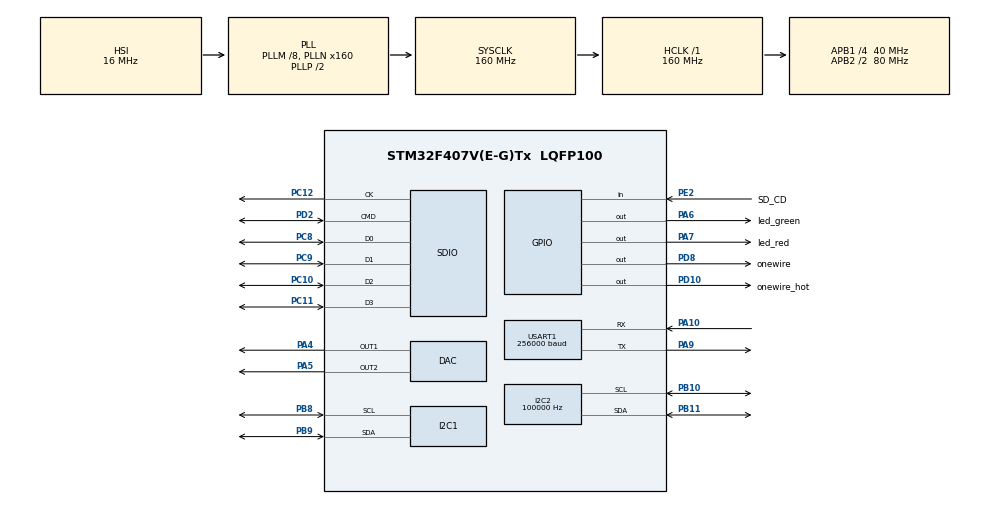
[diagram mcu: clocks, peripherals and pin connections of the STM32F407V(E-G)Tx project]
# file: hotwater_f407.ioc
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ADC1.Channel-0\#ChannelRegularConversion=ADC_CHANNEL_VBAT
ADC1.Channel-1\#ChannelRegularConversion=ADC_CHANNEL_TEMPSENSOR
ADC1.Channel-2\#ChannelRegularConversion=ADC_CHANNEL_VREFINT
ADC1.ContinuousConvMode=ENABLE
ADC1.DMAContinuousRequests=ENABLE
ADC1.EOCSelection=ADC_EOC_SEQ_CONV
ADC1.NbrOfConversion=3
ADC1.NbrOfConversionFlag=1
ADC1.Rank-0\#ChannelRegularConversion=1
ADC1.Rank-1\#ChannelRegularConversion=2
ADC1.Rank-2\#ChannelRegularConversion=3
ADC1.SamplingTime-0\#ChannelRegularConversion=ADC_SAMPLETIME_3CYCLES
ADC1.SamplingTime-1\#ChannelRegularConversion=ADC_SAMPLETIME_3CYCLES
ADC1.SamplingTime-2\#ChannelRegularConversion=ADC_SAMPLETIME_3CYCLES
ADC1.master=1
DAC.DAC_Trigger=DAC_TRIGGER_SOFTWARE
Dma.ADC1.1.Direction=DMA_PERIPH_TO_MEMORY
Dma.ADC1.1.FIFOMode=DMA_FIFOMODE_DISABLE
Dma.ADC1.1.Instance=DMA2_Stream0
Dma.ADC1.1.MemDataAlignment=DMA_MDATAALIGN_HALFWORD
Dma.ADC1.1.MemInc=DMA_MINC_ENABLE
Dma.ADC1.1.Mode=DMA_CIRCULAR
Dma.ADC1.1.PeriphDataAlignment=DMA_PDATAALIGN_HALFWORD
Dma.ADC1.1.PeriphInc=DMA_PINC_DISABLE
Dma.ADC1.1.Priority=DMA_PRIORITY_LOW
Dma.DAC1.0.Direction=DMA_MEMORY_TO_PERIPH
Dma.DAC1.0.FIFOMode=DMA_FIFOMODE_DISABLE
Dma.DAC1.0.Instance=DMA1_Stream5
Dma.DAC1.0.MemDataAlignment=DMA_MDATAALIGN_HALFWORD
Dma.DAC1.0.MemInc=DMA_MINC_ENABLE
Dma.DAC1.0.Mode=DMA_NORMAL
Dma.DAC1.0.PeriphDataAlignment=DMA_PDATAALIGN_HALFWORD
Dma.DAC1.0.PeriphInc=DMA_PINC_DISABLE
Dma.DAC1.0.Priority=DMA_PRIORITY_LOW
Dma.I2C1_RX.2.Direction=DMA_PERIPH_TO_MEMORY
Dma.I2C1_RX.2.FIFOMode=DMA_FIFOMODE_DISABLE
Dma.I2C1_RX.2.Instance=DMA1_Stream0
Dma.I2C1_RX.2.MemDataAlignment=DMA_MDATAALIGN_BYTE
Dma.I2C1_RX.2.MemInc=DMA_MINC_ENABLE
Dma.I2C1_RX.2.Mode=DMA_NORMAL
Dma.I2C1_RX.2.PeriphDataAlignment=DMA_PDATAALIGN_BYTE
Dma.I2C1_RX.2.PeriphInc=DMA_PINC_DISABLE
Dma.I2C1_RX.2.Priority=DMA_PRIORITY_LOW
Dma.I2C1_TX.3.Direction=DMA_MEMORY_TO_PERIPH
Dma.I2C1_TX.3.FIFOMode=DMA_FIFOMODE_DISABLE
Dma.I2C1_TX.3.Instance=DMA1_Stream6
Dma.I2C1_TX.3.MemDataAlignment=DMA_MDATAALIGN_BYTE
Dma.I2C1_TX.3.MemInc=DMA_MINC_ENABLE
Dma.I2C1_TX.3.Mode=DMA_NORMAL
Dma.I2C1_TX.3.PeriphDataAlignment=DMA_PDATAALIGN_BYTE
Dma.I2C1_TX.3.PeriphInc=DMA_PINC_DISABLE
Dma.I2C1_TX.3.Priority=DMA_PRIORITY_LOW
Dma.I2C2_RX.6.Direction=DMA_PERIPH_TO_MEMORY
Dma.I2C2_RX.6.FIFOMode=DMA_FIFOMODE_DISABLE
Dma.I2C2_RX.6.Instance=DMA1_Stream2
Dma.I2C2_RX.6.MemDataAlignment=DMA_MDATAALIGN_BYTE
Dma.I2C2_RX.6.MemInc=DMA_MINC_ENABLE
Dma.I2C2_RX.6.Mode=DMA_NORMAL
Dma.I2C2_RX.6.PeriphDataAlignment=DMA_PDATAALIGN_BYTE
Dma.I2C2_RX.6.PeriphInc=DMA_PINC_DISABLE
Dma.I2C2_RX.6.Priority=DMA_PRIORITY_LOW
Dma.I2C2_TX.7.Direction=DMA_MEMORY_TO_PERIPH
Dma.I2C2_TX.7.FIFOMode=DMA_FIFOMODE_DISABLE
Dma.I2C2_TX.7.Instance=DMA1_Stream7
Dma.I2C2_TX.7.MemDataAlignment=DMA_MDATAALIGN_BYTE
Dma.I2C2_TX.7.MemInc=DMA_MINC_ENABLE
Dma.I2C2_TX.7.Mode=DMA_NORMAL
Dma.I2C2_TX.7.PeriphDataAlignment=DMA_PDATAALIGN_BYTE
Dma.I2C2_TX.7.PeriphInc=DMA_PINC_DISABLE
Dma.I2C2_TX.7.Priority=DMA_PRIORITY_LOW
Dma.Request0=DAC1
Dma.Request1=ADC1
Dma.Request2=I2C1_RX
Dma.Request3=I2C1_TX
Dma.Request4=USART1_RX
Dma.Request5=USART1_TX
Dma.Request6=I2C2_RX
Dma.Request7=I2C2_TX
Dma.Request8=SDIO_RX
Dma.Request9=SDIO_TX
Dma.SDIO_RX.8.Direction=DMA_PERIPH_TO_MEMORY
Dma.SDIO_RX.8.FIFOMode=DMA_FIFOMODE_ENABLE
Dma.SDIO_RX.8.FIFOThreshold=DMA_FIFO_THRESHOLD_FULL
Dma.SDIO_RX.8.Instance=DMA2_Stream3
Dma.SDIO_RX.8.MemBurst=DMA_MBURST_INC4
Dma.SDIO_RX.8.MemDataAlignment=DMA_MDATAALIGN_WORD
Dma.SDIO_RX.8.MemInc=DMA_MINC_ENABLE
Dma.SDIO_RX.8.Mode=DMA_PFCTRL
Dma.SDIO_RX.8.PeriphBurst=DMA_PBURST_INC4
Dma.SDIO_RX.8.PeriphDataAlignment=DMA_PDATAALIGN_WORD
Dma.SDIO_RX.8.PeriphInc=DMA_PINC_DISABLE
Dma.SDIO_RX.8.Priority=DMA_PRIORITY_LOW
Dma.SDIO_TX.9.Direction=DMA_MEMORY_TO_PERIPH
Dma.SDIO_TX.9.FIFOMode=DMA_FIFOMODE_ENABLE
Dma.SDIO_TX.9.FIFOThreshold=DMA_FIFO_THRESHOLD_FULL
Dma.SDIO_TX.9.Instance=DMA2_Stream6
Dma.SDIO_TX.9.MemBurst=DMA_MBURST_INC4
Dma.SDIO_TX.9.MemDataAlignment=DMA_MDATAALIGN_WORD
Dma.SDIO_TX.9.MemInc=DMA_MINC_ENABLE
Dma.SDIO_TX.9.Mode=DMA_PFCTRL
Dma.SDIO_TX.9.PeriphBurst=DMA_PBURST_INC4
Dma.SDIO_TX.9.PeriphDataAlignment=DMA_PDATAALIGN_WORD
Dma.SDIO_TX.9.PeriphInc=DMA_PINC_DISABLE
Dma.SDIO_TX.9.Priority=DMA_PRIORITY_LOW
Dma.USART1_RX.4.Direction=DMA_PERIPH_TO_MEMORY
Dma.USART1_RX.4.FIFOMode=DMA_FIFOMODE_DISABLE
Dma.USART1_RX.4.Instance=DMA2_Stream2
Dma.USART1_RX.4.MemDataAlignment=DMA_MDATAALIGN_BYTE
Dma.USART1_RX.4.MemInc=DMA_MINC_ENABLE
Dma.USART1_RX.4.Mode=DMA_NORMAL
Dma.USART1_RX.4.PeriphDataAlignment=DMA_PDATAALIGN_BYTE
Dma.USART1_RX.4.PeriphInc=DMA_PINC_DISABLE
Dma.USART1_RX.4.Priority=DMA_PRIORITY_LOW
Dma.USART1_TX.5.Direction=DMA_MEMORY_TO_PERIPH
Dma.USART1_TX.5.FIFOMode=DMA_FIFOMODE_DISABLE
Dma.USART1_TX.5.Instance=DMA2_Stream7
Dma.USART1_TX.5.MemDataAlignment=DMA_MDATAALIGN_BYTE
Dma.USART1_TX.5.MemInc=DMA_MINC_ENABLE
Dma.USART1_TX.5.Mode=DMA_NORMAL
Dma.USART1_TX.5.PeriphDataAlignment=DMA_PDATAALIGN_BYTE
Dma.USART1_TX.5.PeriphInc=DMA_PINC_DISABLE
Dma.USART1_TX.5.Priority=DMA_PRIORITY_LOW
FATFS.BSP.number=1
FATFS.USE_DMA_CODE_SD=1
FATFS._MAX_LFN=32
FATFS._USE_LABEL=1
FATFS._USE_LFN=3
FATFS0.BSP.STBoard=false
FATFS0.BSP.api=Unknown
FATFS0.BSP.i2caddr=0
FATFS0.BSP.instance=PE2
FATFS0.BSP.ip=GPIO
FATFS0.BSP.mode=Input
FATFS0.BSP.name=Detect_SDIO
FATFS0.BSP.solution=PE2
I2C1.I2C_Mode=I2C_Standard
I2C2.ClockSpeed=100000
I2C2.I2C_Mode=I2C_Standard
Mcu.Family=STM32F4
Mcu.Name=STM32F407V(E-G)Tx
Mcu.Package=LQFP100
NVIC.ADC_IRQn=true\:0\:0\:false\:false\:true\:true\:true
NVIC.DMA1_Stream0_IRQn=true\:0\:0\:false\:false\:true\:false\:true
NVIC.DMA1_Stream2_IRQn=true\:0\:0\:false\:false\:true\:false\:true
NVIC.DMA1_Stream5_IRQn=true\:0\:0\:false\:false\:true\:false\:true
NVIC.DMA1_Stream6_IRQn=true\:0\:0\:false\:false\:true\:false\:true
NVIC.DMA1_Stream7_IRQn=true\:0\:0\:false\:false\:true\:false\:true
NVIC.DMA2_Stream0_IRQn=true\:0\:0\:false\:false\:true\:false\:true
NVIC.DMA2_Stream2_IRQn=true\:0\:0\:false\:false\:true\:false\:true
NVIC.DMA2_Stream3_IRQn=true\:0\:0\:false\:false\:true\:false\:true
NVIC.DMA2_Stream6_IRQn=true\:0\:0\:false\:false\:true\:false\:true
NVIC.DMA2_Stream7_IRQn=true\:0\:0\:false\:false\:true\:false\:true
NVIC.I2C1_ER_IRQn=true\:0\:0\:false\:false\:true\:true\:true
NVIC.I2C1_EV_IRQn=true\:0\:0\:false\:false\:true\:true\:true
NVIC.I2C2_ER_IRQn=true\:0\:0\:false\:false\:true\:true\:true
NVIC.I2C2_EV_IRQn=true\:0\:0\:false\:false\:true\:true\:true
NVIC.PriorityGroup=NVIC_PRIORITYGROUP_4
NVIC.SDIO_IRQn=true\:0\:0\:false\:false\:true\:true\:true
NVIC.TIM6_DAC_IRQn=true\:0\:0\:false\:false\:true\:true\:true
NVIC.USART1_IRQn=true\:0\:0\:false\:false\:true\:true\:true
PA10.Mode=Asynchronous
PA10.Signal=USART1_RX
PA13.Mode=Serial_Wire
PA13.Signal=SYS_JTMS-SWDIO
PA14.Mode=Serial_Wire
PA14.Signal=SYS_JTCK-SWCLK
PA4.Signal=COMP_DAC1_group
PA5.Signal=COMP_DAC2_group
PA6.GPIO_Label=led_green
PA6.GPIO_ModeDefaultOutputPP=GPIO_MODE_OUTPUT_OD
PA6.Signal=GPIO_Output
PA7.GPIO_Label=led_red
PA7.GPIO_ModeDefaultOutputPP=GPIO_MODE_OUTPUT_OD
PA7.Signal=GPIO_Output
PA9.Mode=Asynchronous
PA9.Signal=USART1_TX
PB10.Mode=I2C
PB10.Signal=I2C2_SCL
PB11.Mode=I2C
PB11.Signal=I2C2_SDA
PB8.GPIO_PuPdOD=GPIO_NOPULL
PB8.GPIO_Speed=GPIO_SPEED_FREQ_LOW
PB8.Mode=I2C
PB8.Signal=I2C1_SCL
PB9.GPIO_PuPdOD=GPIO_NOPULL
PB9.GPIO_Speed=GPIO_SPEED_FREQ_LOW
PB9.Mode=I2C
PB9.Signal=I2C1_SDA
PC10.Mode=SD_4_bits_Wide_bus
PC10.Signal=SDIO_D2
PC11.Mode=SD_4_bits_Wide_bus
PC11.Signal=SDIO_D3
PC12.Mode=SD_4_bits_Wide_bus
PC12.Signal=SDIO_CK
PC14-OSC32_IN.Mode=LSE-External-Oscillator
PC14-OSC32_IN.Signal=RCC_OSC32_IN
PC15-OSC32_OUT.Mode=LSE-External-Oscillator
PC15-OSC32_OUT.Signal=RCC_OSC32_OUT
PC8.Mode=SD_4_bits_Wide_bus
PC8.Signal=SDIO_D0
PC9.Mode=SD_4_bits_Wide_bus
PC9.Signal=SDIO_D1
PD10.GPIO_Label=onewire_hot
PD10.GPIO_ModeDefaultOutputPP=GPIO_MODE_OUTPUT_OD
PD10.Signal=GPIO_Output
PD2.Mode=SD_4_bits_Wide_bus
PD2.Signal=SDIO_CMD
PD8.GPIO_Label=onewire
PD8.GPIO_ModeDefaultOutputPP=GPIO_MODE_OUTPUT_OD
PD8.GPIO_Speed=GPIO_SPEED_FREQ_LOW
PD8.Signal=GPIO_Output
PE2.GPIO_Label=SD_CD
PE2.GPIO_PuPd=GPIO_PULLDOWN
PE2.Signal=GPIO_Input
PH0-OSC_IN.Mode=HSE-External-Oscillator
PH0-OSC_IN.Signal=RCC_OSC_IN
PH1-OSC_OUT.Mode=HSE-External-Oscillator
PH1-OSC_OUT.Signal=RCC_OSC_OUT
ProjectManager.HeapSize=0x8000
ProjectManager.StackSize=0x400
ProjectManager.TargetToolchain=STM32CubeIDE
RCC.48MHZClocksFreq_Value=45714285.71428572
RCC.AHBFreq_Value=160000000
RCC.APB1CLKDivider=RCC_HCLK_DIV4
RCC.APB1Freq_Value=40000000
RCC.APB1TimFreq_Value=80000000
RCC.APB2CLKDivider=RCC_HCLK_DIV2
RCC.APB2Freq_Value=80000000
RCC.APB2TimFreq_Value=160000000
RCC.CortexFreq_Value=160000000
RCC.HCLKFreq_Value=160000000
RCC.HSE_VALUE=8000000
RCC.HSI_VALUE=16000000
RCC.PLLM=8
RCC.PLLN=160
RCC.PLLQ=7
RCC.RCC_RTC_Clock_Source=RCC_RTCCLKSOURCE_LSE
RCC.RCC_RTC_Clock_SourceVirtual=RCC_RTCCLKSOURCE_LSE
RCC.SYSCLKFreq_VALUE=160000000
RCC.SYSCLKSource=RCC_SYSCLKSOURCE_PLLCLK
RCC.VCOOutputFreq_Value=320000000
RTC.Date=15
RTC.Format=RTC_FORMAT_BIN
RTC.Hours=19
RTC.Minutes=16
RTC.Month=RTC_MONTH_NOVEMBER
RTC.WeekDay=RTC_WEEKDAY_SUNDAY
RTC.Year=20
SDIO.ClockDiv=0
SDIO.HardwareFlowControl=SDIO_HARDWARE_FLOW_CONTROL_DISABLE
SH.COMP_DAC1_group.0=DAC_OUT1,DAC_OUT1
SH.COMP_DAC2_group.0=DAC_OUT2,DAC_OUT2
TIM2.AutoReloadPreload=TIM_AUTORELOAD_PRELOAD_ENABLE
TIM6.AutoReloadPreload=TIM_AUTORELOAD_PRELOAD_ENABLE
TIM6.Period=1600
TIM6.Prescaler=1
TIM6.TIM_MasterOutputTrigger=TIM_TRGO_UPDATE
USART1.BaudRate=256000
USART1.VirtualMode=VM_ASYNC
VP_ADC1_TempSens_Input.Mode=IN-TempSens
VP_ADC1_Vbat_Input.Mode=IN-Vbat
VP_ADC1_Vref_Input.Mode=IN-Vrefint
VP_FATFS_VS_SDIO.Mode=SDIO
VP_RTC_VS_RTC_Activate.Mode=RTC_Enabled
VP_RTC_VS_RTC_Calendar.Mode=RTC_Calendar
VP_TIM2_VS_ClockSourceINT.Mode=Internal
VP_TIM6_VS_ClockSourceINT.Mode=Enable_Timer
board=custom

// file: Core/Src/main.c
/* USER CODE BEGIN Header */
/**
  ******************************************************************************
  * @file           : main.c
  * @brief          : Main program body
  ******************************************************************************
  * @attention
  *
  * <h2><center>&copy; Copyright (c) 2020 STMicroelectronics.
  * All rights reserved.</center></h2>
  *
  * This software component is licensed by ST under BSD 3-Clause license,
  * the "License"; You may not use this file except in compliance with the
  * License. You may obtain a copy of the License at:
  *                        opensource.org/licenses/BSD-3-Clause
  *
  ******************************************************************************
  */
/* USER CODE END Header */
#include "main.h"
#include "adc.h"
#include "dac.h"
#include "dma.h"
#include "fatfs.h"
#include "i2c.h"
#include "rtc.h"
#include "sdio.h"
#include "tim.h"
#include "usart.h"
#include "gpio.h"

/* USER CODE BEGIN Includes */
#include "terminal.h"
#include "board_led.h"
#include "mcp23.h"
#include "datatypes_tasks.h"
#include "ina219_monitor.h"
#include "delay.h"
#include "oneWire.h"
#include "ds18x20.h"
#include "PrettyLog.h"
#include "potis.h"
#include "terminal.h"
#include "command.h"
#include "HappyHotWater.h"
#include "sdfile.h"
#include "backup_command.h"
#include "cpp_link.hpp"
//#include "pMain.hpp"

/* USER CODE END Includes */

void SystemClock_Config(void);

int main(void)
{

  /* MCU Configuration--------------------------------------------------------*/

  /* Reset of all peripherals, Initializes the Flash interface and the Systick. */
  HAL_Init();

  /* Configure the system clock */
  SystemClock_Config();

  /* Initialize all configured peripherals */
  MX_GPIO_Init();
  MX_DMA_Init();
  MX_RTC_Init();
  MX_SDIO_SD_Init();
  MX_TIM6_Init();
  MX_USART1_UART_Init();
  MX_DAC_Init();
  MX_TIM2_Init();
  MX_I2C1_Init();
  MX_ADC1_Init();
  MX_I2C2_Init();
  MX_FATFS_Init();
  /* USER CODE BEGIN 2 */
  //als erstes für uart
  delay_init(&delay, &htim2);
  //als zweites für meldung
  mfinit_terminal(&btTerm);
  //als drittes für init commands
  Command_init();
   //init_cmdfile nach happylog
  mfinit_prettylog(&prettylog);

  mfinit_boardled();
  mfinit_mcp23017();
 // mfinit_poti(&analogchan);
  mfinit_tsensor(&tsensor_cold);
  mfinit_tsensor(&tsensor_hot);
  mfinit_ina219(&batt_hw);
  mfinit_happyhotwater(&Hhw);

  tsensor_cold.wire.GPIO_InitStruct.Pin = onewire_Pin;
  tsensor_cold.wire.onewire_port 		= onewire_GPIO_Port;
  tsensor_hot.wire.GPIO_InitStruct.Pin 	= onewire_hot_Pin;
  tsensor_hot.wire.onewire_port 		= onewire_hot_GPIO_Port;

  oneWire_drivePin(&tsensor_cold.wire, OW_INPUT_HIGHZ);
  oneWire_drivePin(&tsensor_hot.wire, OW_INPUT_HIGHZ);
  //schnellen tasktimer starten
  HAL_TIM_Base_Start_IT(&htim6);
  //zuletzt starten um defaults zu überschreiben
  init_sdfile_happylog(&happylog);
  init_sdfile_initcmd();
  mfinit_sdfile_backup();
  /* USER CODE END 2 */

  /* Infinite loop */
  /* USER CODE BEGIN WHILE */

  while (1)
  {
	cpp_link();
	mftask_terminal(&btTerm);
    mftask_tsensor(&tsensor_cold);
    mftask_tsensor(&tsensor_hot);
    mftask_boardled();

    mftask_mcp23017(&mcp_io);
    mftask_prettylog(&prettylog.pp_modflag);
    mftask_ina219(&batt_hw);
    mftask_sdfile_backup(&eeprom);
    mftask_sdfile_happylog(&happylog);

    if (batt_hw.voltbuff < 0)
    {
    	//ina_setup(&batt_hw);
    	HAL_NVIC_SystemReset();
    }
   if (!mcp_io.mf_mcp23017.init_done)
    {
    	//db.iostatus=666;
    	HAL_NVIC_SystemReset();
    }
   mftask_happyhotwater(&Hhw);

   // mftask_potis(&analogchan);

    db.temphot = tsensor_hot.lastTempF;
    db.tempcold = tsensor_cold.lastTempF;
    db.iostatus = mcp_io.inputstate;
    db.loglines = happylog.act_line;
    db.batthwvolt = batt_hw.voltbuff;
    db.batthwcurr = batt_hw.currbuff;
    db.batthwpwr = batt_hw.pwerbuff;
    /* USER CODE END WHILE */

  }
}

void SystemClock_Config(void)
{
  RCC_OscInitTypeDef RCC_OscInitStruct = {0};
  RCC_ClkInitTypeDef RCC_ClkInitStruct = {0};
  RCC_PeriphCLKInitTypeDef PeriphClkInitStruct = {0};

  /** Configure the main internal regulator output voltage
  */
  __HAL_RCC_PWR_CLK_ENABLE();
  __HAL_PWR_VOLTAGESCALING_CONFIG(PWR_REGULATOR_VOLTAGE_SCALE1);
  /** Initializes the RCC Oscillators according to the specified parameters
  * in the RCC_OscInitTypeDef structure.
  */
  RCC_OscInitStruct.OscillatorType = RCC_OSCILLATORTYPE_HSI|RCC_OSCILLATORTYPE_LSE;
  RCC_OscInitStruct.LSEState = RCC_LSE_ON;
  RCC_OscInitStruct.HSIState = RCC_HSI_ON;
  RCC_OscInitStruct.HSICalibrationValue = RCC_HSICALIBRATION_DEFAULT;
  RCC_OscInitStruct.PLL.PLLState = RCC_PLL_ON;
  RCC_OscInitStruct.PLL.PLLSource = RCC_PLLSOURCE_HSI;
  RCC_OscInitStruct.PLL.PLLM = 8;
  RCC_OscInitStruct.PLL.PLLN = 160;
  RCC_OscInitStruct.PLL.PLLP = RCC_PLLP_DIV2;
  RCC_OscInitStruct.PLL.PLLQ = 7;
  if (HAL_RCC_OscConfig(&RCC_OscInitStruct) != HAL_OK)
  {
    Error_Handler();
  }
  /** Initializes the CPU, AHB and APB buses clocks
  */
  RCC_ClkInitStruct.ClockType = RCC_CLOCKTYPE_HCLK|RCC_CLOCKTYPE_SYSCLK
                              |RCC_CLOCKTYPE_PCLK1|RCC_CLOCKTYPE_PCLK2;
  RCC_ClkInitStruct.SYSCLKSource = RCC_SYSCLKSOURCE_PLLCLK;
  RCC_ClkInitStruct.AHBCLKDivider = RCC_SYSCLK_DIV1;
  RCC_ClkInitStruct.APB1CLKDivider = RCC_HCLK_DIV4;
  RCC_ClkInitStruct.APB2CLKDivider = RCC_HCLK_DIV2;

  if (HAL_RCC_ClockConfig(&RCC_ClkInitStruct, FLASH_LATENCY_5) != HAL_OK)
  {
    Error_Handler();
  }
  PeriphClkInitStruct.PeriphClockSelection = RCC_PERIPHCLK_RTC;
  PeriphClkInitStruct.RTCClockSelection = RCC_RTCCLKSOURCE_LSE;
  if (HAL_RCCEx_PeriphCLKConfig(&PeriphClkInitStruct) != HAL_OK)
  {
    Error_Handler();
  }
}

void Error_Handler(void)
{
}

/************************ (C) COPYRIGHT STMicroelectronics *****END OF FILE****/
